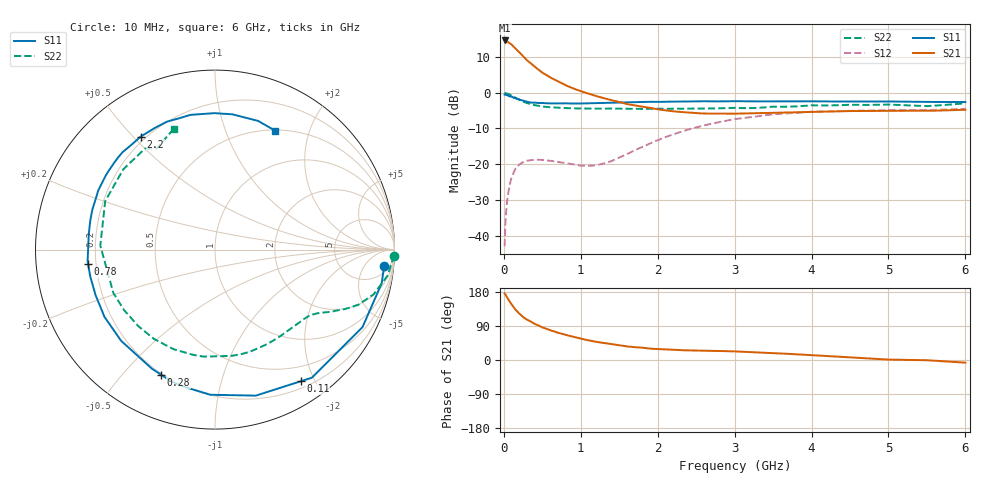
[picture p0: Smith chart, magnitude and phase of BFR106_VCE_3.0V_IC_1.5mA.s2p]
! Infineon Technologies  Discrete & RF Semiconductors
! BFR106
! VCE =  3.0 V,  IC =  1.5 mA
! Common Emitter S-Parameters:  Nov 2015
# GHz  S  MA  R  50
!  f  S11  S21  S12  S22
! GHz  MAG  ANG  MAG  ANG  MAG  ANG  MAG  ANG
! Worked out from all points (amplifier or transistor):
!   210 points, 10 MHz to 6 GHz, reference 50 ohm
!   highest |S21| = 14.7 dB at 10 MHz (marker M1)
!   |S21| within 3 dB of that: start of sweep to 187 MHz
!   unconditionally stable (mu >= 1): 825.7 MHz to 2.098 GHz; 3.053 GHz to end of sweep
!   at 185 MHz: K = 0.22, MSG = 16.1 dB, |S12| = -20.5 dB
!   at 1.52 GHz: K = 1.26, MAG = 4.6 dB, |S12| = -18.0 dB
!   at 6 GHz: K = 1.02, MAG = -1.0 dB, |S12| = -4.5 dB
!   S11 on the Smith chart (normalised r, x): 10 MHz: 9, -16; 110 MHz: 0.29, -1.81; 280 MHz: 0.19, -0.64; 780 MHz: 0.17, -0.06; 2.2 GHz: 0.18, +0.53; 6 GHz: 0.51, +1.51
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0.01  0.9469 -5.6  5.414 175.8  0.0071 86.6  0.9994 -1.9
0.025  0.9392 -14.1  5.332 171.1  0.018 81.9  0.9872 -4.3
0.05  0.9285 -27.7  5.193 161.7  0.0355 74.2  0.973 -8.5
0.1  0.8949 -52.9  4.766 146.8  0.0651 61.8  0.9178 -15.8
0.11  0.8753 -57.0  4.632 144.3  0.069 58.9  0.9047 -16.8
0.15  0.8448 -74.4  4.199 132.7  0.0858 50.0  0.8552 -21.1
0.195  0.8093 -90.0  3.763 123.7  0.0974 43.0  0.8049 -24.0
0.24  0.7826 -103.4  3.345 115.4  0.1053 36.9  0.7602 -26.5
0.28  0.7593 -113.2  3.017 109.5  0.1098 33.1  0.7313 -28.2
0.3  0.7509 -117.9  2.863 106.6  0.1118 31.5  0.7186 -29.0
0.4  0.7293 -135.8  2.32 95.4  0.1154 24.9  0.6708 -31.9
0.5  0.7209 -148.7  1.92 86.1  0.1149 21.5  0.6428 -34.8
0.6  0.712 -159.2  1.647 78.7  0.1118 19.7  0.6277 -38.1
0.78  0.7116 -173.4  1.312 67.7  0.1045 21.4  0.6127 -44.6
1.02  0.7089 171.8  1.036 55.4  0.0953 31.3  0.6033 -54.2
1.6  0.7365 145.0  0.696 35.8  0.1379 65.0  0.5992 -81.1
2.02  0.7465 129.4  0.583 28.5  0.2211 68.4  0.598 -103.0
2.2  0.7535 123.3  0.55 26.7  0.2613 66.6  0.6011 -112.6
3.1  0.7606 98.3  0.513 21.8  0.4406 46.0  0.6108 -162.0
4.1  0.7581 81.5  0.544 11.8  0.5457 22.7  0.6658 152.7
5.1  0.7536 70.5  0.56 0.8  0.5701 6.1  0.6776 123.8
6  0.7425 63.1  0.579 -7.0  0.5964 -4.7  0.7115 108.8
